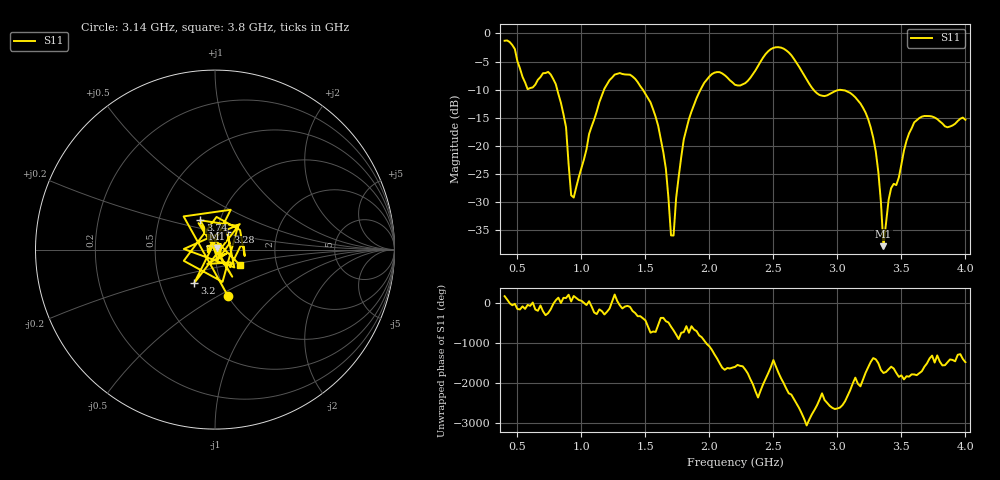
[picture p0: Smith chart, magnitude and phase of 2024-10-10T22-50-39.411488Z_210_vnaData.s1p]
! Created with skrf (http://scikit-rf.org).
# Hz S RI R 50.0
!freq ReS11 ImS11
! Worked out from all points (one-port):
!   181 points, 400 MHz to 4 GHz, reference 50 ohm
!   lowest |S11| = -37.8 dB at 3.36 GHz (marker M1), VSWR 1.03, Z = 50.9 + j0.892 ohm
!   |S11| at or under -10 dB: 811.3 MHz to 1.177 GHz (365.4 MHz wide, 36.8 % of centre); 1.48 GHz to 1.931 GHz (450.6 MHz wide, 26.4 % of centre); 2.813 GHz to end of sweep
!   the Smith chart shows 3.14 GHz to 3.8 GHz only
!   S11 on the Smith chart (normalised r, x): 3.14 GHz: 1.00, -0.56; 3.2 GHz: 0.74, -0.29; 3.28 GHz: 1.12, +0.22; 3.74 GHz: 0.81, +0.27; 3.8 GHz: 1.30, -0.23
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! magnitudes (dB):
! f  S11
! 400 MHz  -1.3
! 580 MHz  -9.9
! 760 MHz  -7.3
! 860 MHz  -14.4
! 940 MHz  -29.2
! 1.14 GHz  -12.2
! 1.3 GHz  -7.0
! 1.58 GHz  -14.8
! 1.66 GHz  -24.1
! 1.7 GHz  -35.9
! 1.76 GHz  -25.5
! 1.84 GHz  -15.2
! 1.96 GHz  -8.8
! 2.2 GHz  -9.1
! 2.5 GHz  -2.6
! 2.66 GHz  -4.5
! 2.86 GHz  -10.9
! 3.1 GHz  -10.6
! 3.14 GHz  -11.4
! 3.2 GHz  -13.2
! 3.28 GHz  -18.5
! 3.32 GHz  -24.7
! 3.36 GHz  -37.8
! 3.42 GHz  -27.5
! 3.56 GHz  -17.8
! 3.74 GHz  -14.8
! 3.8 GHz  -15.6
! 4 GHz  -15.3
